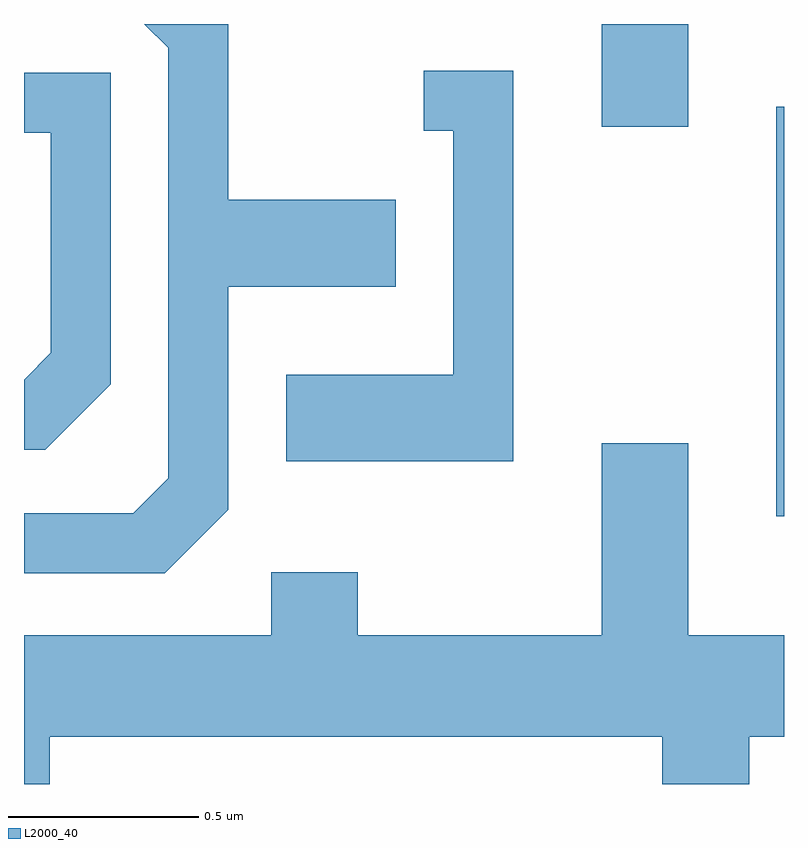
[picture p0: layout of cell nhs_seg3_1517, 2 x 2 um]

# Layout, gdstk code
import gdstk
lib = gdstk.Library(unit=1e-6, precision=1e-09)
def R(c, l, rs):  # rectangles x0, y0, x1, y1
    for r in rs: c.add(gdstk.rectangle(r[:2], r[2:], *l))
def P(c, l, *ps):  # polygons
    for p in ps: c.add(gdstk.Polygon(p, *l))
L2000_40 = (2000, 40)

nhs_seg3_1517 = lib.new_cell('nhs_seg3_1517')
R(nhs_seg3_1517, L2000_40, [(198.591,1126.596,198.611,1127.674), (198.131,1127.621,198.359,1127.892)])
P(nhs_seg3_1517, L2000_40, [(197.149,1126.614),(197.149,1127.201),(197.589,1127.201),(197.589,1127.429),(197.149,1127.429),(197.149,1127.892),(196.928,1127.892),(196.991,1127.829),(196.991,1126.697),(196.899,1126.604),(196.611,1126.604),(196.611,1126.446),(196.982,1126.446)],
  [(197.899,1127.769),(197.663,1127.769),(197.663,1127.611),(197.741,1127.611),(197.741,1126.969),(197.301,1126.969),(197.301,1126.741),(197.899,1126.741)],
  [(196.839,1126.944),(196.839,1127.764),(196.611,1127.764),(196.611,1127.606),(196.681,1127.606),(196.681,1127.027),(196.611,1126.956),(196.611,1126.771),(196.667,1126.771)],
  [(196.679,1126.016),(198.291,1126.016),(198.291,1125.892),(198.519,1125.892),(198.519,1126.016),(198.611,1126.016),(198.611,1126.284),(198.359,1126.284),(198.359,1126.789),(198.131,1126.789),(198.131,1126.284),(197.489,1126.284),(197.489,1126.449),(197.261,1126.449),(197.261,1126.284),(196.611,1126.284),(196.611,1125.892),(196.679,1125.892)])

lib.write_gds('nhs_seg3_1517.gds')
